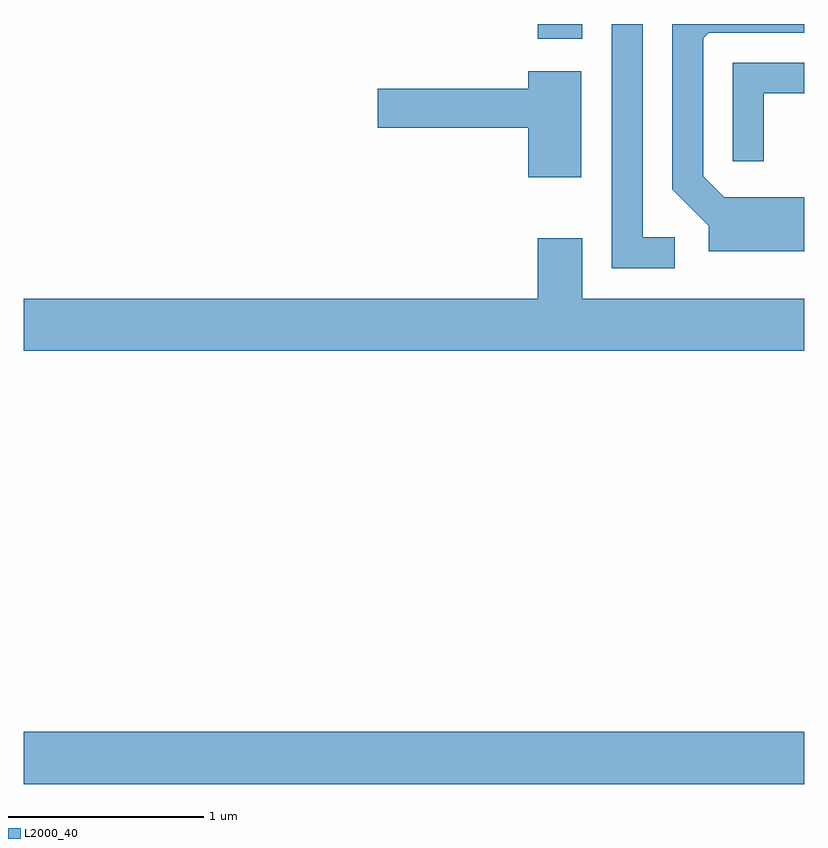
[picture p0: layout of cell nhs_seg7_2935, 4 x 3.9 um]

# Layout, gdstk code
import gdstk
lib = gdstk.Library(unit=1e-6, precision=1e-09)
def R(c, l, rs):  # rectangles x0, y0, x1, y1
    for r in rs: c.add(gdstk.rectangle(r[:2], r[2:], *l))
def P(c, l, *ps):  # polygons
    for p in ps: c.add(gdstk.Polygon(p, *l))
L2000_40 = (2000, 40)

nhs_seg7_2935 = lib.new_cell('nhs_seg7_2935')
R(nhs_seg7_2935, L2000_40, [(275.611,1674.356,279.611,1674.624), (278.246,1678.176,278.474,1678.252)])
P(nhs_seg7_2935, L2000_40, [(279.611,1677.364),(279.202,1677.364),(279.094,1677.472),(279.094,1678.179),(279.122,1678.206),(279.611,1678.206),(279.611,1678.252),(278.936,1678.252),(278.936,1677.404),(279.121,1677.219),(279.121,1677.086),(279.611,1677.086)],
  [(278.948,1677.159),(278.784,1677.159),(278.784,1678.252),(278.626,1678.252),(278.626,1677.001),(278.948,1677.001)],
  [(279.404,1677.896),(279.611,1677.896),(279.611,1678.054),(279.246,1678.054),(279.246,1677.548),(279.404,1677.548)],
  [(278.469,1678.009),(278.196,1678.009),(278.196,1677.919),(277.426,1677.919),(277.426,1677.721),(278.196,1677.721),(278.196,1677.466),(278.469,1677.466)],
  [(279.611,1676.844),(278.474,1676.844),(278.474,1677.154),(278.246,1677.154),(278.246,1676.844),(275.611,1676.844),(275.611,1676.576),(279.611,1676.576)])

lib.write_gds('nhs_seg7_2935.gds')
